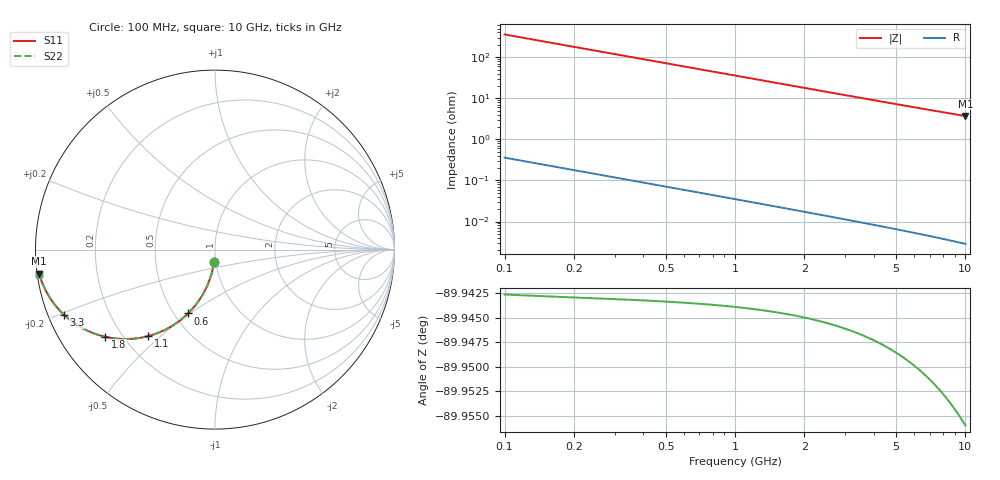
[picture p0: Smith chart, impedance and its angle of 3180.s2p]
# Hz S RI R 50.00
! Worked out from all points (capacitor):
!   100 points, 100 MHz to 10 GHz, reference 50 ohm
!   read as one part in shunt: C = 4.45 pF near 100 MHz
!   lowest |Z| = 3.7 ohm at 10 GHz (marker M1)
!   S11 on the Smith chart (normalised r, x): 100 MHz: 0.98, -0.14; 600 MHz: 0.59, -0.49; 1.1 GHz: 0.30, -0.46; 1.8 GHz: 0.14, -0.34; 3.3 GHz: 0.05, -0.21; 10 GHz: 0.01, -0.07
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1e8  -0.00489 -0.0694  0.995 -0.0695  0.995 -0.0695  -0.00489 -0.0694
2e8  -0.0192 -0.1368  0.9807 -0.1371  0.9807 -0.1371  -0.0192 -0.1368
3e8  -0.0422 -0.2004  0.9577 -0.2008  0.9577 -0.2008  -0.0422 -0.2004
4e8  -0.0725 -0.2587  0.9274 -0.2592  0.9274 -0.2592  -0.0725 -0.2587
5e8  -0.1088 -0.3107  0.8911 -0.3113  0.8911 -0.3113  -0.1088 -0.3107
6e8  -0.1495 -0.3558  0.8504 -0.3565  0.8504 -0.3565  -0.1495 -0.3558
7e8  -0.193 -0.3938  0.8069 -0.3946  0.8069 -0.3946  -0.193 -0.3938
8e8  -0.238 -0.4249  0.7619 -0.4258  0.7619 -0.4258  -0.238 -0.4249
9e8  -0.2832 -0.4496  0.7167 -0.4506  0.7167 -0.4506  -0.2832 -0.4496
1.1e9  -0.3711 -0.482  0.6288 -0.4832  0.6288 -0.4832  -0.3711 -0.482
1.4e9  -0.4886 -0.4985  0.5114 -0.5002  0.5114 -0.5002  -0.4886 -0.4985
1.8e9  -0.6121 -0.4857  0.3878 -0.4878  0.3878 -0.4878  -0.6121 -0.4857
2.1e9  -0.6823 -0.4638  0.3176 -0.4663  0.3176 -0.4663  -0.6823 -0.4638
2.5e9  -0.7526 -0.4295  0.2473 -0.4324  0.2473 -0.4324  -0.7526 -0.4295
2.9e9  -0.8036 -0.395  0.1963 -0.3984  0.1963 -0.3984  -0.8036 -0.395
3.3e9  -0.8412 -0.363  0.1587 -0.3669  0.1587 -0.3669  -0.8412 -0.363
3.4e9  -0.849 -0.3555  0.1509 -0.3595  0.1509 -0.3595  -0.849 -0.3555
4.2e9  -0.8956 -0.3027  0.1043 -0.3077  0.1043 -0.3077  -0.8956 -0.3027
5.1e9  -0.9267 -0.2569  0.0732 -0.263  0.0732 -0.263  -0.9267 -0.2569
6.7e9  -0.9562 -0.1999  0.0436 -0.2079  0.0436 -0.2079  -0.9562 -0.1999
8.4e9  -0.9718 -0.1598  0.0281 -0.1699  0.0281 -0.1699  -0.9718 -0.1598
1e10  -0.98 -0.1332  0.0199 -0.1453  0.0199 -0.1453  -0.98 -0.1332
